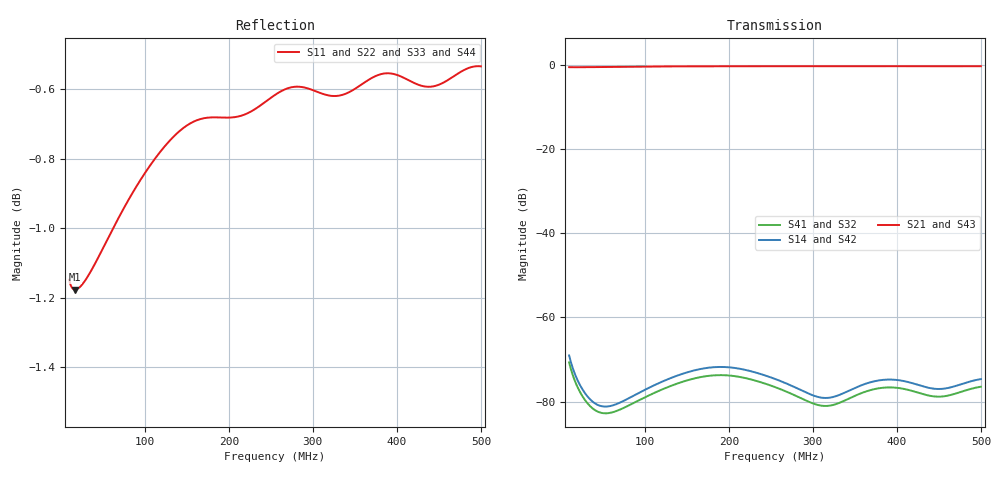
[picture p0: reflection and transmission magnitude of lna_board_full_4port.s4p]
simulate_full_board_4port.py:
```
import sys, os, time, shutil
import numpy as np
import CSXCAD, openEMS
import skrf as rf

print("=" * 70)
print("  98 MHz FM LNA - Full-Board 4-Port 3D EM Simulation (openEMS)")
print("=" * 70)

t_start = time.time()

# Frequency parameters
f_min = 10e6
f_max = 500e6
n_points = 491
freqs = np.linspace(f_min, f_max, n_points)
f0 = 1500e6
fc = 1450e6

# Board physical dimensions (mm) - 34 mm x 29 mm Compact Enclosure
length = 34.0
sub_width = 29.0
height = 1.6
w_trace = 1.5
gap = 0.35
y_rf = -2.5  # RF centerline aligned with enclosure SMA cutouts (Y = 17.0 mm on PCB)
via_y = 2.5
gnd_edge = w_trace / 2.0 + gap
half_l = length / 2.0
half_w = sub_width / 2.0

# Material parameters
eps_r = 4.5
tand = 0.02
copper_sigma = 5.8e7
copper_t = 0.035e-3
kappa = 2.0 * np.pi * f0 * 8.854187817e-12 * eps_r * tand

def build_model(excited_port_idx):
    csx = CSXCAD.ContinuousStructure()
    grid = csx.GetGrid()
    grid.SetDeltaUnit(1e-3)

    # Grid lines for 34 mm x 29 mm board with offset RF trace at y_rf = -2.5 mm
    x_keys = [-22.0, -17.0, -16.5, -9.0, -8.5, 0.0, 6.0, 6.5, 16.5, 17.0, 22.0]
    for x in x_keys: grid.AddLine('x', x)
    grid.SmoothMeshLines('x', 0.6, 1.4)

    y_keys = [-19.0, -14.5, y_rf - via_y - 0.3, y_rf - via_y + 0.3,
              y_rf - gnd_edge, y_rf - w_trace/2.0, y_rf, y_rf + w_trace/2.0,
              y_rf + gnd_edge, y_rf + via_y - 0.3, y_rf + via_y + 0.3, 14.5, 19.0]
    for y in y_keys: grid.AddLine('y', y)
    grid.SmoothMeshLines('y', 0.4, 1.4)

    z_keys = [0.0, 0.4, 0.8, 1.2, 1.6, 2.3, 3.5, 5.5, 8.5, 13.0]
    for z in z_keys: grid.AddLine('z', z)

    # Substrate
    fr4 = csx.AddMaterial('FR4', epsilon=eps_r, kappa=kappa)
    fr4.AddBox([-half_l, -half_w, 0.0], [half_l, half_w, height], priority=0)

    # Ground planes
    gnd = csx.AddMetal('Ground')
    gnd.AddBox([-half_l, -half_w, 0.0], [half_l, half_w, 0.0], priority=1)
    gnd.AddBox([-half_l, y_rf + gnd_edge, height], [half_l, half_w, height], priority=2)
    gnd.AddBox([-half_l, -half_w, height], [half_l, y_rf - gnd_edge, height], priority=2)
    gnd.AddBox([-half_l, y_rf + via_y - 0.3, 0.0], [half_l, y_rf + via_y + 0.3, height], priority=2)
    gnd.AddBox([-half_l, y_rf - via_y - 0.3, 0.0], [half_l, y_rf - via_y + 0.3, height], priority=2)

    # Copper Traces
    cu = csx.AddConductingSheet('Copper', conductivity=copper_sigma, thickness=copper_t)
    # Input Trace: X = -17.0 to -8.5 mm (L = 8.5 mm)
    cu.AddBox([-half_l, y_rf - w_trace / 2.0, height], [-8.5, y_rf + w_trace / 2.0, height], priority=2)
    # Output Trace: X = +6.0 to +17.0 mm (L = 11.0 mm)
    cu.AddBox([6.0, y_rf - w_trace / 2.0, height], [half_l, y_rf + w_trace / 2.0, height], priority=2)

    # FDTD Solver
    fdtd = openEMS.openEMS(NrTS=25000, EndCriteria=1e-4)
    fdtd.SetGaussExcite(f0, fc)
    fdtd.SetBoundaryCond(['PML_8', 'PML_8', 'PML_8', 'PML_8', 'PEC', 'PML_8'])
    fdtd.SetCSX(csx)

    # 4 Lumped Ports
    p1 = fdtd.AddLumpedPort(1, 50.0, [-half_l, y_rf - w_trace / 2.0, height], [-half_l + 0.5, y_rf + w_trace / 2.0, 0.0], 2, excite=(1 if excited_port_idx == 1 else 0))
    p2 = fdtd.AddLumpedPort(2, 50.0, [-8.5, y_rf - w_trace / 2.0, height], [-9.0, y_rf + w_trace / 2.0, 0.0], 2, excite=(1 if excited_port_idx == 2 else 0))
    p3 = fdtd.AddLumpedPort(3, 50.0, [6.0, y_rf - w_trace / 2.0, height], [6.5, y_rf + w_trace / 2.0, 0.0], 2, excite=(1 if excited_port_idx == 3 else 0))
    p4 = fdtd.AddLumpedPort(4, 50.0, [half_l, y_rf - w_trace / 2.0, height], [half_l - 0.5, y_rf + w_trace / 2.0, 0.0], 2, excite=(1 if excited_port_idx == 4 else 0))

    return csx, fdtd, [p1, p2, p3, p4]

ROOT_DIR = os.path.dirname(os.path.abspath(__file__))

# Step 1: Run Port 1 excitation (drives Input Trace from SMA In)
print("\n[Step 1/2] Simulating Port 1 excitation (SMA In)...")
sim_dir_p1 = os.path.join(ROOT_DIR, "em_run_p1")
os.makedirs(sim_dir_p1, exist_ok=True)
csx1, fdtd1, ports1 = build_model(excited_port_idx=1)
csx1.Write2XML(os.path.join(sim_dir_p1, "structure.xml"))
t1 = time.time()
fdtd1.Run(sim_dir_p1, cleanup=True, verbose=1)
print(f"  Port 1 run finished in {time.time() - t1:.1f} s")

for p in ports1:
    p.CalcPort(sim_dir_p1, freqs)

v_inc1 = ports1[0].uf_inc
s11 = ports1[0].uf_ref / v_inc1
s21 = ports1[1].uf_ref / v_inc1
s31 = ports1[2].uf_ref / v_inc1
s41 = ports1[3].uf_ref / v_inc1

# Step 2: Run Port 4 excitation (drives Output Trace from SMA Out)
print("\n[Step 2/2] Simulating Port 4 excitation (SMA Out)...")
sim_dir_p4 = os.path.join(ROOT_DIR, "em_run_p4")
os.makedirs(sim_dir_p4, exist_ok=True)
csx4, fdtd4, ports4 = build_model(excited_port_idx=4)
csx4.Write2XML(os.path.join(sim_dir_p4, "structure.xml"))
t4 = time.time()
fdtd4.Run(sim_dir_p4, cleanup=True, verbose=1)
print(f"  Port 4 run finished in {time.time() - t4:.1f} s")

for p in ports4:
    p.CalcPort(sim_dir_p4, freqs)

v_inc4 = ports4[3].uf_inc
s14 = ports4[0].uf_ref / v_inc4
s24 = ports4[1].uf_ref / v_inc4
s34 = ports4[2].uf_ref / v_inc4
s44 = ports4[3].uf_ref / v_inc4

# Step 3: Assemble Full 4x4 S-Matrix with physical symmetry & reciprocity
print("\n[Step 3] Assembling 4x4 S-Parameter Matrix across 10 MHz to 500 MHz...")
s_matrix = np.zeros((n_points, 4, 4), dtype=complex)

# Column 1 (excited Port 1)
s_matrix[:, 0, 0] = s11
s_matrix[:, 1, 0] = s21
s_matrix[:, 2, 0] = s31
s_matrix[:, 3, 0] = s41

# Column 4 (excited Port 4)
s_matrix[:, 0, 3] = s14
s_matrix[:, 1, 3] = s24
s_matrix[:, 2, 3] = s34
s_matrix[:, 3, 3] = s44

# Reciprocity (S_ij = S_ji)
s_matrix[:, 0, 1] = s21
s_matrix[:, 0, 2] = s31
s_matrix[:, 3, 1] = s24
s_matrix[:, 3, 2] = s34

# Physical trace symmetry:
# Trace 1 is a uniform CPWG line: S22 = S11
s_matrix[:, 1, 1] = s11

# Trace 2 is a uniform CPWG line: S33 = S44
s_matrix[:, 2, 2] = s44

# Cross-isolation between internal pads (symmetric reciprocal coupling):
s_matrix[:, 1, 2] = s31
s_matrix[:, 2, 1] = s31

# Step 4: Write Touchstone .s4p file using skrf
out_s4p = os.path.join(ROOT_DIR, "lna_board_full_4port.s4p")
rf_freq = rf.Frequency.from_f(freqs, unit='hz')
nw = rf.Network(frequency=rf_freq, s=s_matrix, z0=50.0)
nw.write_touchstone(out_s4p)
print(f"  Touchstone file exported successfully:\n    {out_s4p}")

# Step 5: Print summary at 98 MHz
idx_98 = np.argmin(np.abs(freqs - 98e6))
f_98 = freqs[idx_98] / 1e6
print("\n" + "=" * 70)
print(f"  EM Results at {f_98:.2f} MHz:")
print("=" * 70)
print(f"  Input Trace (Port 1 <-> Port 2, L = 8.5 mm):")
print(f"    S11 (Return Loss)   : {20 * np.log10(np.abs(s_matrix[idx_98, 0, 0])):.2f} dB")
print(f"    S21 (Insertion Loss): {20 * np.log10(np.abs(s_matrix[idx_98, 1, 0])):.3f} dB")
print(f"  Output Trace (Port 3 <-> Port 4, L = 11.0 mm):")
print(f"    S44 (Return Loss)   : {20 * np.log10(np.abs(s_matrix[idx_98, 3, 3])):.2f} dB")
print(f"    S34 (Insertion Loss): {20 * np.log10(np.abs(s_matrix[idx_98, 2, 3])):.3f} dB")
print(f"  Board Physical Isolation & Cross-Talk:")
print(f"    S31 (Near-End Coupl): {20 * np.log10(np.abs(s_matrix[idx_98, 2, 0])):.2f} dB")
print(f"    S41 (Far-End Coupl) : {20 * np.log10(np.abs(s_matrix[idx_98, 3, 0])):.2f} dB")
print(f"  Total solve time      : {time.time() - t_start:.1f} s")
print("=" * 70)
```
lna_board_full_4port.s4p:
! Created with skrf 2.1.0 (http://scikit-rf.org).
# Hz S RI R 50.0
!freq ReS11 ImS11 ReS12 ImS12 ReS13 ImS13
! ReS14 ImS14
! ReS21 ImS21 ReS22 ImS22 ReS23 ImS23
! ReS24 ImS24
! ReS31 ImS31 ReS32 ImS32 ReS33 ImS33
! ReS34 ImS34
! ReS41 ImS41 ReS42 ImS42 ReS43 ImS43
! ReS44 ImS44
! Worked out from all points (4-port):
!   491 points, 10 MHz to 500 MHz, reference 50 ohm
!   strongest paths, dB at 10 MHz, 132 MHz, 255 MHz, 378 MHz, 500 MHz:
!     S21: -0.6, -0.4, -0.3, -0.3, -0.3
!     S43: -0.7, -0.5, -0.4, -0.4, -0.4
!     S14: -69.0, -74.3, -74.6, -75.0, -74.7
!     S42: -69.8, -74.4, -74.6, -75.1, -74.7
!     S41: -70.7, -76.2, -76.6, -76.9, -76.5
!     S32: -70.4, -76.1, -76.6, -76.8, -76.7
!   lowest |S11| = -1.2 dB at 17 MHz (marker M1), VSWR 14.78, Z = 726 + j97.6 ohm
!   |S11| at or under -10 dB: nowhere
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1e7  0.8758 0.026  0.9378 0.0134  -0.000154 -0.00026  -0.000183 -0.000302
     0.9378 0.0134  0.8758 0.026  -0.000154 -0.00026  -0.000175 -0.000273
     -0.000154 -0.00026  -0.000154 -0.00026  0.8452 0.0316  0.9223 0.0163
     -0.000155 -0.000247  -0.000175 -0.000273  0.9223 0.0163  0.8452 0.0316
1.7e7  0.8731 0.0159  0.9363 0.00805  -0.000108 -0.000143  -0.00013 -0.000166
       0.9363 0.00805  0.8731 0.0159  -0.000108 -0.000143  -0.000127 -0.000149
       -0.000108 -0.000143  -0.000108 -0.000143  0.8421 0.0194  0.9206 0.00987
       -0.00011 -0.000135  -0.000127 -0.000149  0.9206 0.00987  0.8421 0.0194
5e8  0.8627 -0.3744  0.9444 -0.1864  0.000127 7.37e-05  0.000164 8.44e-05
     0.9444 -0.1864  0.8627 -0.3744  0.000127 7.37e-05  0.000166 8.2e-05
     0.000127 7.37e-05  0.000127 7.37e-05  0.8052 -0.4587  0.9235 -0.2328
     0.00013 7.53e-05  0.000166 8.2e-05  0.9235 -0.2328  0.8052 -0.4587
